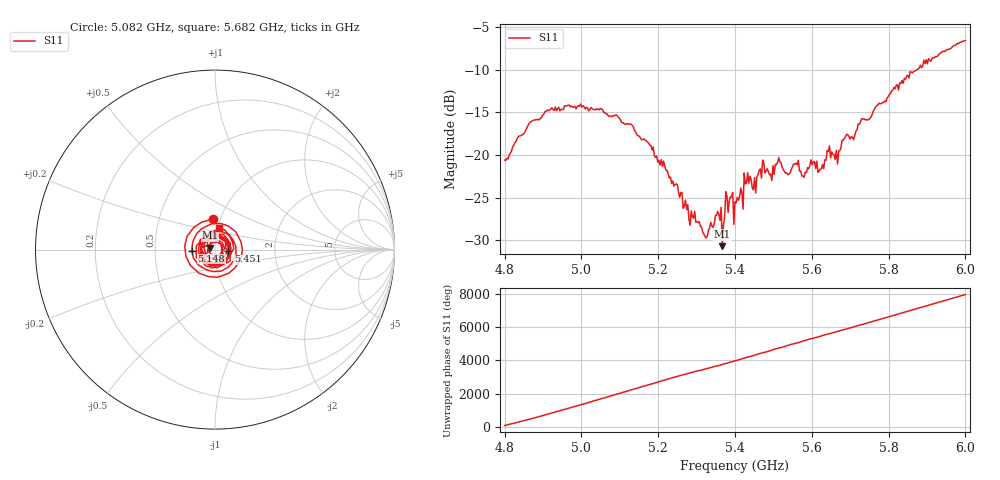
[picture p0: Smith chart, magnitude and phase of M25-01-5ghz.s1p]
! NanoVNA-App
! Date: 2026-05-25 01:49:19
! Start: 4.8GHz Stop: 6GHz Points: 401
! S-Parameter data: F S11
# Hz S RI R 50
!  Frequency  S11_Real  S11_Imag
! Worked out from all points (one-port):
!   401 points, 4.8 GHz to 6 GHz, reference 50 ohm
!   lowest |S11| = -30.7 dB at 5.367 GHz (marker M1), VSWR 1.06, Z = 47.4 + j1.05 ohm
!   |S11| at or under -10 dB: start of sweep to 5.873 GHz
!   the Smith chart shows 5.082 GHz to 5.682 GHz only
!   S11 on the Smith chart (normalised r, x): 5.082 GHz: 0.92, +0.32; 5.148 GHz: 0.77, -0.01; 5.451 GHz: 1.16, -0.02; 5.682 GHz: 1.01, +0.25
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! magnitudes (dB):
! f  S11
! 4.8 GHz  -20.6
! 4.869 GHz  -16.1
! 4.95 GHz  -14.6
! 5.082 GHz  -15.4
! 5.1 GHz  -15.7
! 5.148 GHz  -17.7
! 5.181 GHz  -18.9
! 5.25 GHz  -23.5
! 5.322 GHz  -29.5
! 5.358 GHz  -27.0
! 5.367 GHz  -30.7
! 5.382 GHz  -26.7
! 5.4 GHz  -25.5
! 5.43 GHz  -23.3
! 5.451 GHz  -22.6
! 5.469 GHz  -22.7
! 5.49 GHz  -22.3
! 5.55 GHz  -21.3
! 5.559 GHz  -20.9
! 5.58 GHz  -22.6
! 5.601 GHz  -21.1
! 5.622 GHz  -21.6
! 5.646 GHz  -18.9
! 5.667 GHz  -21.0
! 5.682 GHz  -18.3
! 5.7 GHz  -18.1
! 5.85 GHz  -10.7
! 6 GHz  -6.6
